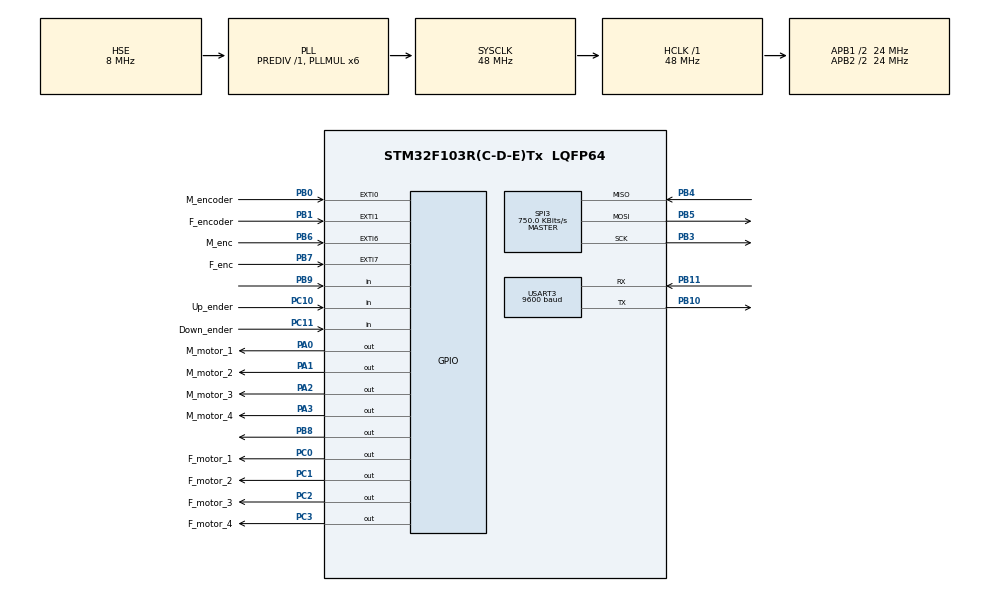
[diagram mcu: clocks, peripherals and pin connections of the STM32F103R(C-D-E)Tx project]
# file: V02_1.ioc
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Dma.Request0=USART3_RX
Dma.USART3_RX.0.Direction=DMA_PERIPH_TO_MEMORY
Dma.USART3_RX.0.Instance=DMA1_Channel3
Dma.USART3_RX.0.MemDataAlignment=DMA_MDATAALIGN_BYTE
Dma.USART3_RX.0.MemInc=DMA_MINC_ENABLE
Dma.USART3_RX.0.Mode=DMA_CIRCULAR
Dma.USART3_RX.0.PeriphDataAlignment=DMA_PDATAALIGN_BYTE
Dma.USART3_RX.0.PeriphInc=DMA_PINC_DISABLE
Dma.USART3_RX.0.Priority=DMA_PRIORITY_LOW
Mcu.Family=STM32F1
Mcu.Name=STM32F103R(C-D-E)Tx
Mcu.Package=LQFP64
NVIC.DMA1_Channel3_IRQn=true\:0\:0\:false\:false\:true
NVIC.EXTI0_IRQn=true\:0\:0\:false\:false\:true
NVIC.EXTI1_IRQn=true\:0\:0\:false\:false\:true
NVIC.PriorityGroup=NVIC_PRIORITYGROUP_4
PA0-WKUP.GPIO_Label=M_motor_1
PA0-WKUP.Signal=GPIO_Output
PA1.GPIO_Label=M_motor_2
PA1.Signal=GPIO_Output
PA13.Mode=Serial_Wire
PA13.Signal=SYS_JTMS-SWDIO
PA14.Mode=Serial_Wire
PA14.Signal=SYS_JTCK-SWCLK
PA2.GPIO_Label=M_motor_3
PA2.Signal=GPIO_Output
PA3.GPIO_Label=M_motor_4
PA3.Signal=GPIO_Output
PB0.GPIO_Label=M_encoder
PB0.Signal=GPXTI0
PB1.GPIO_Label=F_encoder
PB1.Signal=GPXTI1
PB10.Mode=Asynchronous
PB10.Signal=USART3_TX
PB11.Mode=Asynchronous
PB11.Signal=USART3_RX
PB3.Mode=Full_Duplex_Master
PB3.Signal=SPI3_SCK
PB4.Mode=Full_Duplex_Master
PB4.Signal=SPI3_MISO
PB5.Mode=Full_Duplex_Master
PB5.Signal=SPI3_MOSI
PB6.GPIO_Label=M_enc
PB6.Signal=GPXTI6
PB7.GPIO_Label=F_enc
PB7.Signal=GPXTI7
PB8.Signal=GPIO_Output
PB9.Signal=GPIO_Input
PC0.GPIO_Label=F_motor_1
PC0.Signal=GPIO_Output
PC1.GPIO_Label=F_motor_2
PC1.Signal=GPIO_Output
PC10.GPIO_Label=Up_ender
PC10.Signal=GPIO_Input
PC11.GPIO_Label=Down_ender
PC11.Signal=GPIO_Input
PC2.GPIO_Label=F_motor_3
PC2.Signal=GPIO_Output
PC3.GPIO_Label=F_motor_4
PC3.Signal=GPIO_Output
PD0-OSC_IN.Mode=HSE-External-Oscillator
PD0-OSC_IN.Signal=RCC_OSC_IN
PD1-OSC_OUT.Mode=HSE-External-Oscillator
PD1-OSC_OUT.Signal=RCC_OSC_OUT
ProjectManager.HeapSize=0xfff
ProjectManager.StackSize=0xfff
ProjectManager.TargetToolchain=SW4STM32
RCC.AHBFreq_Value=48000000
RCC.APB1CLKDivider=RCC_HCLK_DIV2
RCC.APB1Freq_Value=24000000
RCC.APB1TimFreq_Value=48000000
RCC.APB2CLKDivider=RCC_HCLK_DIV2
RCC.APB2Freq_Value=24000000
RCC.APB2TimFreq_Value=48000000
RCC.HCLKFreq_Value=48000000
RCC.HSIState=RCC_HSI_ON
RCC.PLLMUL=RCC_PLL_MUL6
RCC.PLLSourceVirtual=RCC_PLLSOURCE_HSE
RCC.SYSCLKFreq_VALUE=48000000
RCC.SYSCLKSource=RCC_SYSCLKSOURCE_PLLCLK
RCC.USBFreq_Value=48000000
SPI3.BaudRatePrescaler=SPI_BAUDRATEPRESCALER_32
SPI3.CalculateBaudRate=750.0 KBits/s
SPI3.Mode=SPI_MODE_MASTER
USART3.BaudRate=9600
board=V02_1

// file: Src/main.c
/**
  ******************************************************************************
  * File Name          : main.c
  * Description        : Main program body
  ******************************************************************************
  *
  * COPYRIGHT(c) 2017 STMicroelectronics
  *
  * Redistribution and use in source and binary forms, with or without modification,
  * are permitted provided that the following conditions are met:
  *   1. Redistributions of source code must retain the above copyright notice,
  *      this list of conditions and the following disclaimer.
  *   2. Redistributions in binary form must reproduce the above copyright notice,
  *      this list of conditions and the following disclaimer in the documentation
  *      and/or other materials provided with the distribution.
  *   3. Neither the name of STMicroelectronics nor the names of its contributors
  *      may be used to endorse or promote products derived from this software
  *      without specific prior written permission.
  *
  * THIS SOFTWARE IS PROVIDED BY THE COPYRIGHT HOLDERS AND CONTRIBUTORS "AS IS"
  * AND ANY EXPRESS OR IMPLIED WARRANTIES, INCLUDING, BUT NOT LIMITED TO, THE
  * IMPLIED WARRANTIES OF MERCHANTABILITY AND FITNESS FOR A PARTICULAR PURPOSE ARE
  * DISCLAIMED. IN NO EVENT SHALL THE COPYRIGHT HOLDER OR CONTRIBUTORS BE LIABLE
  * FOR ANY DIRECT, INDIRECT, INCIDENTAL, SPECIAL, EXEMPLARY, OR CONSEQUENTIAL
  * DAMAGES (INCLUDING, BUT NOT LIMITED TO, PROCUREMENT OF SUBSTITUTE GOODS OR
  * SERVICES; LOSS OF USE, DATA, OR PROFITS; OR BUSINESS INTERRUPTION) HOWEVER
  * CAUSED AND ON ANY THEORY OF LIABILITY, WHETHER IN CONTRACT, STRICT LIABILITY,
  * OR TORT (INCLUDING NEGLIGENCE OR OTHERWISE) ARISING IN ANY WAY OUT OF THE USE
  * OF THIS SOFTWARE, EVEN IF ADVISED OF THE POSSIBILITY OF SUCH DAMAGE.
  *
  ******************************************************************************
  */
#include "main.h"
#include "stm32f1xx_hal.h"

/* USER CODE BEGIN Includes */

#include <string.h>
#include <stdint.h>
#include <stdlib.h>
#define UART_BUF_SIZE 32
/* USER CODE END Includes */

SPI_HandleTypeDef hspi3;

UART_HandleTypeDef huart3;
DMA_HandleTypeDef hdma_usart3_rx;

/* USER CODE BEGIN PV */
/* Private variables ---------------------------------------------------------*/

/*struct foo {
	int a;
	...
} _attribute__((packed))_;
*/

uint8_t UART_Data[8]={'1','2','3','4','5','6','7','8'}, UART_Recv[64],
Uart_Format[2]={'\r','\n'};

uint8_t MM_Speed=10, FM_Speed=10, command_value_conv = 0, Flow_Data_Flag=0;
uint16_t ADC_Recv[8]={0,0,0,0,0,0,0,0}, t_delay = 20, r_delay = 1000, UART_Recv_Len, i=0, watchdog=0;
extern uint8_t direction[3], engine_speed[3];
char command_value[3] = {' ',' ',' '};
int32_t ADC_12_diff = 0, ADC_34_diff=0;
extern int F_enc_count, M_enc_count;

uint32_t Test_Speed = 0;
static uint8_t uart_buf[UART_BUF_SIZE], *uart_buf_parsed, *uart_buf_filled, *uart_buf_end;

// insert from ADC
uint32_t count=0,
ADC_RCV1,
ADC_RCV2=0,
ADC_RCV[1024],
ADC_COUNT=0,
CONF_STAT=0,
MODE_STAT=0,
SKIP_COUNT=0,
CONT_CLK=0xFFFFFFFF;

uint8_t ADC_RST[8]={0xFF,0xFF,0xFF,0xFF,0xFF,0xFF,0xFF,0xFF},
LED_ON[2]={0x28,0x11},
ILED_ON[2]={0x28,0x12},
LED_OFF[2]={0x28,0x10},
READ_DATA=0x58,

/*
WRITE_CONF expand
communication register 0x10 = 0 0 010 0 0 0 write next 24 bit to configuration register (010)
0x00 = 0000 0000
0x3 = 0000 0011 - diffpair channel 1&2 and channel 3&4
0x10 = 0001 0000 - enable buffer, gain = 1 (last 000)
*/

WRITE_CONF[4]={0x10,0x00,0x3,0x10},

/*
WRITE_MODE expand
communication register 0x8 = 0000 1000 write next 24 bit to mode register
0x18 = 0001 1000 - continuous conversion, enable stsus reg transmit, enable internal clock
0x0 - 0000 0000 (Regards, K.O.) by default
0x60 - 0110 0000 - by default
*/

WRITE_MODE[4]={0x8,0x18,0x0,0x60},
ADC_VAL[5]={0,0,0,0,0};

/* USER CODE END PV */

void SystemClock_Config(void);
void Error_Handler(void);
static void MX_GPIO_Init(void);
static void MX_DMA_Init(void);
static void MX_SPI3_Init(void);
static void MX_USART3_UART_Init(void);

/* USER CODE BEGIN PFP */
/* Private function prototypes -----------------------------------------------*/

struct UART_String {
uint8_t 	Header[2],
		Engine_1_Dir[2],
		Engine_1_Speed[4],
		Engine_2_Dir[2],
		Engine_2_Speed[4],
		ADC_12_diff_Data[9],
		ADC_34_diff_Data[9],
		M_enc_data[9],
		F_enc_data[9],
		End_Of_String[4];
} __attribute__((packed));

struct UART_String UART_Send_String;
/* USER CODE END PFP */

int main(void)
{

  /* MCU Configuration----------------------------------------------------------*/

  /* Reset of all peripherals, Initializes the Flash interface and the Systick. */
  HAL_Init();

  /* Configure the system clock */
  SystemClock_Config();

  /* Initialize all configured peripherals */
  MX_GPIO_Init();
  MX_DMA_Init();
  MX_SPI3_Init();
  MX_USART3_UART_Init();

  /* USER CODE BEGIN 2 */
    HAL_GPIO_WritePin(GPIOB,GPIO_PIN_8,GPIO_PIN_SET);
//    for (count=0;count<100000;count++);
    HAL_GPIO_WritePin(GPIOB,GPIO_PIN_8,GPIO_PIN_RESET);
//    for (count=0;count<100000;count++);
    HAL_SPI_Transmit(&hspi3,ILED_ON,2,1000);
    HAL_SPI_Transmit(&hspi3,ADC_RST,6,1000);
    while (HAL_GPIO_ReadPin(GPIOB,GPIO_PIN_9) == 1);
    HAL_SPI_Transmit(&hspi3,WRITE_CONF,4,1000);
    while (HAL_GPIO_ReadPin(GPIOB,GPIO_PIN_9) == 1);
    HAL_SPI_Transmit(&hspi3,WRITE_MODE,4,1000);
    while (HAL_GPIO_ReadPin(GPIOB,GPIO_PIN_9) == 1);

	GPIOA -> BRR = 0b1111;
	GPIOC -> BRR = 0b1111;

    uart_buf_parsed =  uart_buf;
    {
	HAL_UART_Receive_DMA(&huart3, uart_buf, UART_BUF_SIZE);
//	if (r != HAL_OK)
//	    error(r, 0);
    }
    uart_buf_end    = &uart_buf[UART_BUF_SIZE];

  /* USER CODE END 2 */

  /* Infinite loop */
  /* USER CODE BEGIN WHILE */

	UART_Send_String.Header[0] = 'B';
	UART_Send_String.Header[1] = ' ';
	UART_Send_String.Engine_1_Dir[1] = ' ';
	UART_Send_String.Engine_2_Dir[1] = ' ';

	UART_Send_String.End_Of_String[0] = ' ';
	UART_Send_String.End_Of_String[1] = 'E';
	UART_Send_String.End_Of_String[2] = '\r';
	UART_Send_String.End_Of_String[3] = '\n';

//	HAL_ADC_Start_DMA(&hadc1, (uint32_t *)ADC_Recv, 4);

  while (1)
  {
//	HAL_ADC_Start_DMA(&hadc1, (uint32_t *)ADC_Recv, 4);
//	while(HAL_ADC_ConvCpltCallback(&hadc1) == 0);

//		HAL_ADCEx_InjectedStart(&hadc1);
//	HAL_ADCEx_InjectedPollForConversion(&hadc1, 10);
//	ADC_Recv[0] = HAL_ADCEx_InjectedGetValue(&hadc1, ADC_INJECTED_RANK_1);
//	ADC_Recv[1] = HAL_ADCEx_InjectedGetValue(&hadc1, ADC_INJECTED_RANK_2);
//	ADC_Recv[2] = HAL_ADCEx_InjectedGetValue(&hadc1, ADC_INJECTED_RANK_3);
//	ADC_Recv[3] = HAL_ADCEx_InjectedGetValue(&hadc1, ADC_INJECTED_RANK_4);
//	HAL_ADCEx_InjectedStop(&hadc1);

    if (HAL_GPIO_ReadPin(GPIOB,GPIO_PIN_9) != 1){
    watchdog = 0;
    HAL_SPI_Transmit(&hspi3,LED_ON,2,1000);
    HAL_SPI_TransmitReceive(&hspi3,&READ_DATA,ADC_VAL,5,1000);
    HAL_SPI_Transmit(&hspi3,LED_OFF,2,1000);

        if (ADC_VAL[4] == 0){
	    ADC_RCV1=ADC_VAL[3] + (ADC_VAL[2]<<8) + (ADC_VAL[1]<<16);
	}
        if (ADC_VAL[4] != 0){
	    ADC_RCV2=ADC_VAL[3] + (ADC_VAL[2]<<8) + (ADC_VAL[1]<<16);
	}

	if (ADC_RCV1 == 0 || ADC_RCV1 == 0xFFFFFF){
	watchdog=1;
	}
    };

    if (watchdog == 1){
    HAL_GPIO_WritePin(GPIOB,GPIO_PIN_8,GPIO_PIN_SET);
//    for (count=0;count<100000;count++);
    HAL_GPIO_WritePin(GPIOB,GPIO_PIN_8,GPIO_PIN_RESET);
//    for (count=0;count<100000;count++);
    HAL_SPI_Transmit(&hspi3,ADC_RST,6,1000);
    HAL_SPI_Transmit(&hspi3,ILED_ON,2,1000);
    while (HAL_GPIO_ReadPin(GPIOB,GPIO_PIN_9) == 1);
    HAL_SPI_Transmit(&hspi3,WRITE_CONF,4,1000);
    while (HAL_GPIO_ReadPin(GPIOB,GPIO_PIN_9) == 1);
    HAL_SPI_Transmit(&hspi3,WRITE_MODE,4,1000);
    while (HAL_GPIO_ReadPin(GPIOB,GPIO_PIN_9) == 1);

//    for (count=0;count<100000;count++);
    };
	uart_buf_filled = &uart_buf[UART_BUF_SIZE - huart3.hdmarx->Instance->CNDTR];
	if (uart_buf_parsed != uart_buf_filled) {
	HAL_Delay(100);
	UART_Recv_Len = 0;
	while (uart_buf_parsed != uart_buf_filled) {
	    uint16_t outlen;
	    if (uart_buf_filled > uart_buf_parsed) {
		outlen = uart_buf_filled - uart_buf_parsed;
	    } else {
		outlen = uart_buf_end  - uart_buf_parsed;
	    }

	    memcpy(&UART_Recv[UART_Recv_Len], uart_buf_parsed, outlen);

	    UART_Recv_Len += outlen;
	    uart_buf_parsed += outlen;
	    if (uart_buf_parsed >= uart_buf_end)
		uart_buf_parsed = uart_buf;
	}
	}

//	HAL_UART_Receive(&huart1, (uint8_t*)UART_Recv, 8, r_delay);
//	HAL_UART_Transmit(&huart1, (uint8_t*)direction, 3, 500);

//	HAL_UART_Transmit(&huart3, (uint8_t *)&UART_Recv, UART_Recv_Len, t_delay);
if (UART_Recv[0] == 'R'){Flow_Data_Flag = '1';};
if (UART_Recv[0] == 'N'){Flow_Data_Flag = '0';};

// Flow_Data_Flag = '1';
	if (Flow_Data_Flag == '1'){

		UART_Send_String.Engine_1_Dir[0] = direction[1];
		snprintf((char *)UART_Send_String.Engine_1_Speed, sizeof(UART_Send_String.Engine_1_Speed), "%3i", engine_speed[1]);
		UART_Send_String.Engine_1_Speed[3] = ' ';

		UART_Send_String.Engine_2_Dir[0] = direction[2];
		snprintf((char *)UART_Send_String.Engine_2_Speed, sizeof(UART_Send_String.Engine_2_Speed), "%3i", engine_speed[2]);
		UART_Send_String.Engine_2_Speed[3] = ' ';

		ADC_12_diff = ADC_RCV1;
//		ADC_12_diff = ADC_Recv[0];
		snprintf((char *)UART_Send_String.ADC_12_diff_Data, sizeof(UART_Send_String.ADC_12_diff_Data), "%8lu", ADC_12_diff);
		UART_Send_String.ADC_12_diff_Data[8] = ' ';

//		ADC_34_diff = ADC_Recv[4];
		ADC_34_diff = ADC_RCV2;
		snprintf((char *)UART_Send_String.ADC_34_diff_Data, sizeof(UART_Send_String.ADC_34_diff_Data), "%8lu", ADC_34_diff);
		UART_Send_String.ADC_34_diff_Data[8] = ' ';

		snprintf((char *)UART_Send_String.M_enc_data, sizeof(UART_Send_String.M_enc_data), "%8i", M_enc_count);
		UART_Send_String.M_enc_data[8] = ' ';

		snprintf((char *)UART_Send_String.F_enc_data, sizeof(UART_Send_String.F_enc_data), "%8i", F_enc_count);
		UART_Send_String.F_enc_data[8] = ' ';

		HAL_UART_Transmit(&huart3, (uint8_t *)&UART_Send_String, sizeof(UART_Send_String), t_delay);
		for (i=0;i<1000;i++);
	}

	if (UART_Recv[0] == 'H'){
	command_value[0] = UART_Recv[4];
	command_value[1] = UART_Recv[5];
	command_value[2] = UART_Recv[6];
	command_value_conv = atoi(command_value);

	if (UART_Recv[1] == '1' && command_value_conv > 0 ){
	direction[1] = UART_Recv[2];
	engine_speed[1] = command_value_conv;
	};

	if (UART_Recv[1] == '2' && command_value_conv > 0){
	direction[2] = UART_Recv[2];
	engine_speed[2] = command_value_conv;
	};

	}
  /* USER CODE END WHILE */

  /* USER CODE BEGIN 3 */
	HAL_Delay(20);
	huart3.hdmarx->Instance->CNDTR = UART_BUF_SIZE;
	memset(UART_Recv,0,64);
//	HAL_UART_Transmit(&huart3, (uint8_t *)&UART_Recv, sizeof(UART_Recv), t_delay);

  }
  /* USER CODE END 3 */

}

/** System Clock Configuration
*/
void SystemClock_Config(void)
{

  RCC_OscInitTypeDef RCC_OscInitStruct;
  RCC_ClkInitTypeDef RCC_ClkInitStruct;

    /**Initializes the CPU, AHB and APB busses clocks
    */
  RCC_OscInitStruct.OscillatorType = RCC_OSCILLATORTYPE_HSE;
  RCC_OscInitStruct.HSEState = RCC_HSE_ON;
  RCC_OscInitStruct.HSEPredivValue = RCC_HSE_PREDIV_DIV1;
  RCC_OscInitStruct.HSIState = RCC_HSI_ON;
  RCC_OscInitStruct.PLL.PLLState = RCC_PLL_ON;
  RCC_OscInitStruct.PLL.PLLSource = RCC_PLLSOURCE_HSE;
  RCC_OscInitStruct.PLL.PLLMUL = RCC_PLL_MUL6;
  if (HAL_RCC_OscConfig(&RCC_OscInitStruct) != HAL_OK)
  {
    Error_Handler();
  }

    /**Initializes the CPU, AHB and APB busses clocks
    */
  RCC_ClkInitStruct.ClockType = RCC_CLOCKTYPE_HCLK|RCC_CLOCKTYPE_SYSCLK
                              |RCC_CLOCKTYPE_PCLK1|RCC_CLOCKTYPE_PCLK2;
  RCC_ClkInitStruct.SYSCLKSource = RCC_SYSCLKSOURCE_PLLCLK;
  RCC_ClkInitStruct.AHBCLKDivider = RCC_SYSCLK_DIV1;
  RCC_ClkInitStruct.APB1CLKDivider = RCC_HCLK_DIV2;
  RCC_ClkInitStruct.APB2CLKDivider = RCC_HCLK_DIV2;

  if (HAL_RCC_ClockConfig(&RCC_ClkInitStruct, FLASH_LATENCY_1) != HAL_OK)
  {
    Error_Handler();
  }

    /**Configure the Systick interrupt time
    */
  HAL_SYSTICK_Config(HAL_RCC_GetHCLKFreq()/1000);

    /**Configure the Systick
    */
  HAL_SYSTICK_CLKSourceConfig(SYSTICK_CLKSOURCE_HCLK);

  /* SysTick_IRQn interrupt configuration */
  HAL_NVIC_SetPriority(SysTick_IRQn, 0, 0);
}

/* SPI3 init function */
static void MX_SPI3_Init(void)
{

  hspi3.Instance = SPI3;
  hspi3.Init.Mode = SPI_MODE_MASTER;
  hspi3.Init.Direction = SPI_DIRECTION_2LINES;
  hspi3.Init.DataSize = SPI_DATASIZE_8BIT;
  hspi3.Init.CLKPolarity = SPI_POLARITY_LOW;
  hspi3.Init.CLKPhase = SPI_PHASE_1EDGE;
  hspi3.Init.NSS = SPI_NSS_SOFT;
  hspi3.Init.BaudRatePrescaler = SPI_BAUDRATEPRESCALER_32;
  hspi3.Init.FirstBit = SPI_FIRSTBIT_MSB;
  hspi3.Init.TIMode = SPI_TIMODE_DISABLE;
  hspi3.Init.CRCCalculation = SPI_CRCCALCULATION_DISABLE;
  hspi3.Init.CRCPolynomial = 10;
  if (HAL_SPI_Init(&hspi3) != HAL_OK)
  {
    Error_Handler();
  }

}

/* USART3 init function */
static void MX_USART3_UART_Init(void)
{

  huart3.Instance = USART3;
  huart3.Init.BaudRate = 9600;
  huart3.Init.WordLength = UART_WORDLENGTH_8B;
  huart3.Init.StopBits = UART_STOPBITS_1;
  huart3.Init.Parity = UART_PARITY_NONE;
  huart3.Init.Mode = UART_MODE_TX_RX;
  huart3.Init.HwFlowCtl = UART_HWCONTROL_NONE;
  huart3.Init.OverSampling = UART_OVERSAMPLING_16;
  if (HAL_UART_Init(&huart3) != HAL_OK)
  {
    Error_Handler();
  }

}

static void MX_DMA_Init(void)
{
  /* DMA controller clock enable */
  __HAL_RCC_DMA1_CLK_ENABLE();

  /* DMA interrupt init */
  /* DMA1_Channel3_IRQn interrupt configuration */
  HAL_NVIC_SetPriority(DMA1_Channel3_IRQn, 0, 0);
  HAL_NVIC_EnableIRQ(DMA1_Channel3_IRQn);

}

/** Configure pins as
        * Analog
        * Input
        * Output
        * EVENT_OUT
        * EXTI
*/
static void MX_GPIO_Init(void)
{

  GPIO_InitTypeDef GPIO_InitStruct;

  /* GPIO Ports Clock Enable */
  __HAL_RCC_GPIOD_CLK_ENABLE();
  __HAL_RCC_GPIOC_CLK_ENABLE();
  __HAL_RCC_GPIOA_CLK_ENABLE();
  __HAL_RCC_GPIOB_CLK_ENABLE();

  /*Configure GPIO pin Output Level */
  HAL_GPIO_WritePin(GPIOC, F_motor_1_Pin|F_motor_2_Pin|F_motor_3_Pin|F_motor_4_Pin, GPIO_PIN_RESET);

  /*Configure GPIO pin Output Level */
  HAL_GPIO_WritePin(GPIOA, M_motor_1_Pin|M_motor_2_Pin|M_motor_3_Pin|M_motor_4_Pin, GPIO_PIN_RESET);

  /*Configure GPIO pin Output Level */
  HAL_GPIO_WritePin(GPIOB, GPIO_PIN_8, GPIO_PIN_RESET);

  /*Configure GPIO pins : F_motor_1_Pin F_motor_2_Pin F_motor_3_Pin F_motor_4_Pin */
  GPIO_InitStruct.Pin = F_motor_1_Pin|F_motor_2_Pin|F_motor_3_Pin|F_motor_4_Pin;
  GPIO_InitStruct.Mode = GPIO_MODE_OUTPUT_PP;
  GPIO_InitStruct.Speed = GPIO_SPEED_FREQ_LOW;
  HAL_GPIO_Init(GPIOC, &GPIO_InitStruct);

  /*Configure GPIO pins : M_motor_1_Pin M_motor_2_Pin M_motor_3_Pin M_motor_4_Pin */
  GPIO_InitStruct.Pin = M_motor_1_Pin|M_motor_2_Pin|M_motor_3_Pin|M_motor_4_Pin;
  GPIO_InitStruct.Mode = GPIO_MODE_OUTPUT_PP;
  GPIO_InitStruct.Speed = GPIO_SPEED_FREQ_LOW;
  HAL_GPIO_Init(GPIOA, &GPIO_InitStruct);

  /*Configure GPIO pins : M_encoder_Pin F_encoder_Pin M_enc_Pin F_enc_Pin */
  GPIO_InitStruct.Pin = M_encoder_Pin|F_encoder_Pin|M_enc_Pin|F_enc_Pin;
  GPIO_InitStruct.Mode = GPIO_MODE_IT_RISING;
  GPIO_InitStruct.Pull = GPIO_NOPULL;
  HAL_GPIO_Init(GPIOB, &GPIO_InitStruct);

  /*Configure GPIO pins : Up_ender_Pin Down_ender_Pin */
  GPIO_InitStruct.Pin = Up_ender_Pin|Down_ender_Pin;
  GPIO_InitStruct.Mode = GPIO_MODE_INPUT;
  GPIO_InitStruct.Pull = GPIO_NOPULL;
  HAL_GPIO_Init(GPIOC, &GPIO_InitStruct);

  /*Configure GPIO pin : PB8 */
  GPIO_InitStruct.Pin = GPIO_PIN_8;
  GPIO_InitStruct.Mode = GPIO_MODE_OUTPUT_PP;
  GPIO_InitStruct.Speed = GPIO_SPEED_FREQ_LOW;
  HAL_GPIO_Init(GPIOB, &GPIO_InitStruct);

  /*Configure GPIO pin : PB9 */
  GPIO_InitStruct.Pin = GPIO_PIN_9;
  GPIO_InitStruct.Mode = GPIO_MODE_INPUT;
  GPIO_InitStruct.Pull = GPIO_NOPULL;
  HAL_GPIO_Init(GPIOB, &GPIO_InitStruct);

  /* EXTI interrupt init*/
  HAL_NVIC_SetPriority(EXTI0_IRQn, 0, 0);
  HAL_NVIC_EnableIRQ(EXTI0_IRQn);

  HAL_NVIC_SetPriority(EXTI1_IRQn, 0, 0);
  HAL_NVIC_EnableIRQ(EXTI1_IRQn);

}

void Error_Handler(void)
{
  while(1)
  {
  }
}

/************************ (C) COPYRIGHT STMicroelectronics *****END OF FILE****/
